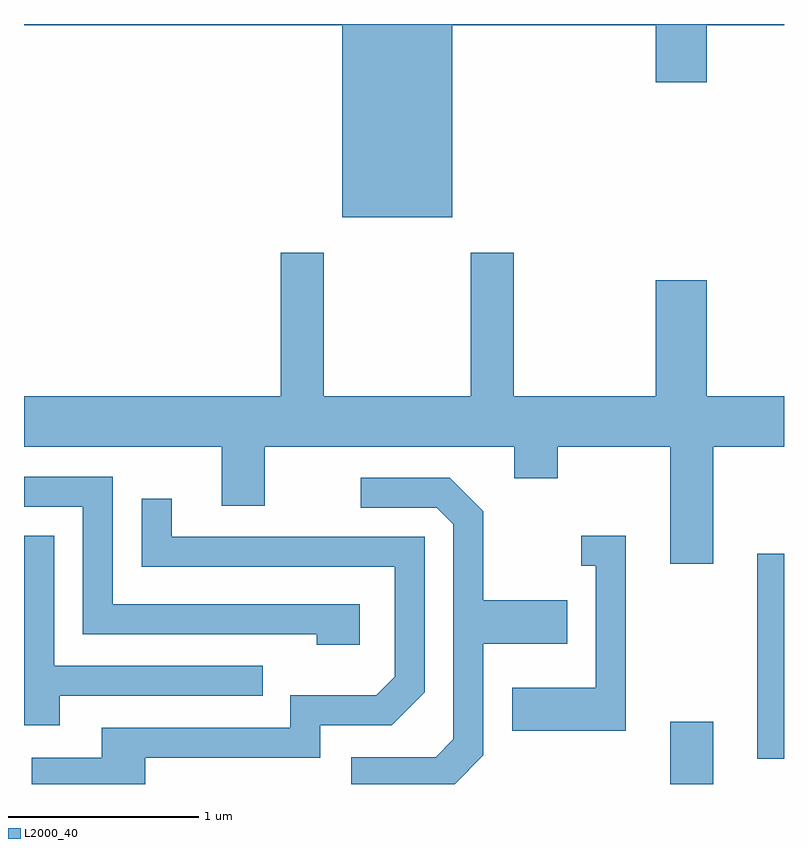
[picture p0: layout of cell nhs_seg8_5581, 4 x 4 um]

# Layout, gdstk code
import gdstk
lib = gdstk.Library(unit=1e-6, precision=1e-09)
def R(c, l, rs):  # rectangles x0, y0, x1, y1
    for r in rs: c.add(gdstk.rectangle(r[:2], r[2:], *l))
def P(c, l, *ps):  # polygons
    for p in ps: c.add(gdstk.Polygon(p, *l))
L2000_40 = (2000, 40)

nhs_seg8_5581 = lib.new_cell('nhs_seg8_5581')
R(nhs_seg8_5581, L2000_40, [(355.011,1912.342,355.239,1912.669), (355.471,1912.476,355.611,1913.554)])
P(nhs_seg8_5581, L2000_40, [(353.864,1916.336),(354.936,1916.336),(354.936,1916.036),(355.204,1916.036),(355.204,1916.336),(355.611,1916.336),(355.611,1916.342),(351.611,1916.342),(351.611,1916.336),(353.286,1916.336),(353.286,1915.326),(353.864,1915.326)],
  [(355.239,1914.116),(355.611,1914.116),(355.611,1914.384),(355.204,1914.384),(355.204,1914.994),(354.936,1914.994),(354.936,1914.384),(354.189,1914.384),(354.189,1915.139),(353.961,1915.139),(353.961,1914.384),(353.189,1914.384),(353.189,1915.139),(352.961,1915.139),(352.961,1914.384),(351.611,1914.384),(351.611,1914.116),(352.651,1914.116),(352.651,1913.806),(352.879,1913.806),(352.879,1914.116),(354.191,1914.116),(354.191,1913.951),(354.419,1913.951),(354.419,1914.116),(355.011,1914.116),(355.011,1913.501),(355.239,1913.501)],
  [(353.379,1913.289),(352.079,1913.289),(352.079,1913.959),(351.611,1913.959),(351.611,1913.801),(351.921,1913.801),(351.921,1913.131),(353.151,1913.131),(353.151,1913.076),(353.379,1913.076)],
  [(354.029,1912.494),(354.029,1913.081),(354.469,1913.081),(354.469,1913.309),(354.029,1913.309),(354.029,1913.777),(353.852,1913.954),(353.383,1913.954),(353.383,1913.796),(353.784,1913.796),(353.871,1913.709),(353.871,1912.577),(353.779,1912.484),(353.333,1912.484),(353.333,1912.342),(353.878,1912.342)],
  [(352.249,1912.481),(353.169,1912.481),(353.169,1912.651),(353.547,1912.651),(353.719,1912.824),(353.719,1913.644),(352.389,1913.644),(352.389,1913.843),(352.231,1913.843),(352.231,1913.486),(353.561,1913.486),(353.561,1912.907),(353.464,1912.809),(353.011,1912.809),(353.011,1912.639),(352.021,1912.639),(352.021,1912.479),(351.653,1912.479),(351.653,1912.342),(352.249,1912.342)],
  [(354.779,1913.649),(354.543,1913.649),(354.543,1913.491),(354.621,1913.491),(354.621,1912.849),(354.181,1912.849),(354.181,1912.621),(354.779,1912.621)],
  [(351.799,1912.806),(352.868,1912.806),(352.868,1912.964),(351.769,1912.964),(351.769,1913.649),(351.611,1913.649),(351.611,1912.651),(351.799,1912.651)])

lib.write_gds('nhs_seg8_5581.gds')
